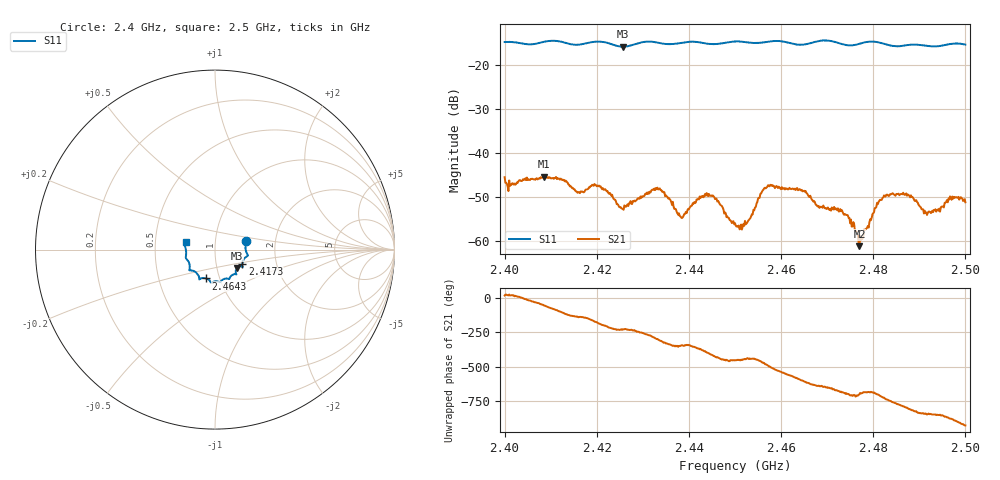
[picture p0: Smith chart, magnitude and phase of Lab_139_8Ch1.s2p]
# Hz S RI R 50
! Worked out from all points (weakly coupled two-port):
!   601 points, 2.4 GHz to 2.5 GHz, reference 50 ohm
!   highest |S21| = -45.49 dB at 2.4085 GHz (marker M1); lowest = -61.3 dB at 2.477 GHz (marker M2)
!   lowest |S11| = -15.9 dB at 2.4257 GHz (marker M3), VSWR 1.38, Z = 62.4 - j13.1 ohm
!   |S11| at or under -10 dB: start of sweep to end of sweep
!   S12 and S22 are empty: the file has one direction only
!   S11 on the Smith chart (normalised r, x): 2.4 GHz: 1.41, +0.14; 2.4173 GHz: 1.34, -0.23; 2.4643 GHz: 0.86, -0.28; 2.5 GHz: 0.72, +0.06
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2.4e9  0.1738 0.0492  0.00506 0.0014  0 0  0 0
2.4085e9  0.1801 -0.0251  0.00294 -0.00443  0 0  0 0
2.416667e9  0.1528 -0.0747  -0.00281 -0.00227  0 0  0 0
2.417333e9  0.1523 -0.0824  -0.00294 -0.00205  0 0  0 0
2.420333e9  0.1546 -0.097  -0.00413 0.000345  0 0  0 0
2.425667e9  0.1224 -0.1022  -0.00147 0.00172  0 0  0 0
2.433333e9  0.1127 -0.1368  0.00211 0.00317  0 0  0 0
2.4385e9  0.0818 -0.1572  0.00173 0.000483  0 0  0 0
2.444833e9  0.0567 -0.1616  0.00198 -0.00258  0 0  0 0
2.45e9  0.0296 -0.1809  -5.23e-05 -0.00158  0 0  0 0
2.452833e9  0.0185 -0.1777  0.000302 -0.00164  0 0  0 0
2.456833e9  -0.0123 -0.1804  -0.00225 -0.00331  0 0  0 0
2.464333e9  -0.0501 -0.1605  -0.00201 0.00312  0 0  0 0
2.466667e9  -0.0763 -0.1598  -0.000114 0.00292  0 0  0 0
2.474333e9  -0.1004 -0.1326  0.00178 0.000808  0 0  0 0
2.477e9  -0.127 -0.1167  0.000807 0.000306  0 0  0 0
2.481e9  -0.1426 -0.1094  0.00245 0.000849  0 0  0 0
2.483333e9  -0.141 -0.0894  0.00297 -0.00123  0 0  0 0
2.488e9  -0.1604 -0.0508  0.000121 -0.0031  0 0  0 0
2.4915e9  -0.1613 -0.0301  -0.00106 -0.0018  0 0  0 0
2.497167e9  -0.1706 0.0276  -0.00296 -0.00112  0 0  0 0
2.5e9  -0.1636 0.0421  -0.00249 0.00111  0 0  0 0
